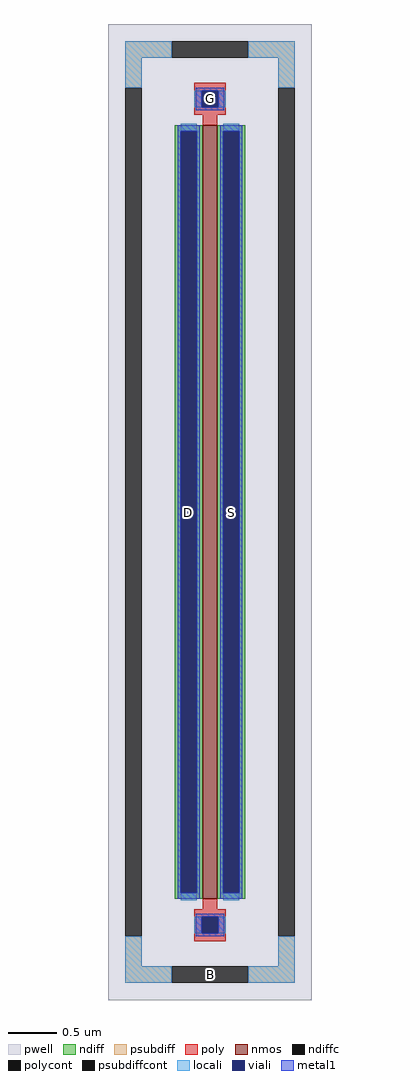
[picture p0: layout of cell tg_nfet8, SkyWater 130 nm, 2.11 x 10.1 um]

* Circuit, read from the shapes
.subckt tg_nfet8 B D S G
XM1 S G D B sky130_fd_pr__nfet_01v8 w=8 l=0.15
.ends

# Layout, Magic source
magic
tech sky130A
magscale 1 2
<< pwell >>
rect -211 -1010 211 1010
<< nmos >>
rect -15 -800 15 800
<< ndiff >>
rect -73 788 -15 800
rect -73 -788 -61 788
rect -27 -788 -15 788
rect -73 -800 -15 -788
rect 15 788 73 800
rect 15 -788 27 788
rect 61 -788 73 788
rect 15 -800 73 -788
<< ndiffc >>
rect -61 -788 -27 788
rect 27 -788 61 788
<< psubdiff >>
rect -175 940 -79 974
rect 79 940 175 974
rect -175 878 -141 940
rect 141 878 175 940
rect -175 -940 -141 -878
rect 141 -940 175 -878
rect -175 -974 -79 -940
rect 79 -974 175 -940
<< psubdiffcont >>
rect -79 940 79 974
rect -175 -878 -141 878
rect 141 -878 175 878
rect -79 -974 79 -940
<< poly >>
rect -33 872 33 888
rect -33 838 -17 872
rect 17 838 33 872
rect -33 822 33 838
rect -15 800 15 822
rect -15 -822 15 -800
rect -33 -838 33 -822
rect -33 -872 -17 -838
rect 17 -872 33 -838
rect -33 -888 33 -872
<< polycont >>
rect -17 838 17 872
rect -17 -872 17 -838
<< locali >>
rect -175 940 -79 974
rect 79 940 175 974
rect -175 878 -141 940
rect 141 878 175 940
rect -33 838 -17 872
rect 17 838 33 872
rect -61 788 -27 804
rect -61 -804 -27 -788
rect 27 788 61 804
rect 27 -804 61 -788
rect -33 -872 -17 -838
rect 17 -872 33 -838
rect -175 -940 -141 -878
rect 141 -940 175 -878
rect -175 -974 -79 -940
rect 79 -974 175 -940
<< viali >>
rect -17 838 17 872
rect -61 -788 -27 788
rect 27 -788 61 788
rect -17 -872 17 -838
<< metal1 >>
rect -29 872 29 878
rect -29 838 -17 872
rect 17 838 29 872
rect -29 832 29 838
rect -67 788 -21 800
rect -67 -788 -61 788
rect -27 -788 -21 788
rect -67 -800 -21 -788
rect 21 788 67 800
rect 21 -788 27 788
rect 61 -788 67 788
rect 21 -800 67 -788
rect -29 -838 29 -832
rect -29 -872 -17 -838
rect 17 -872 29 -838
rect -29 -878 29 -872
<< labels >>
rlabel psubdiffcont 0 -957 0 -957 0 B
port 1 nsew
rlabel ndiffc -44 0 -44 0 0 D
port 2 nsew
rlabel ndiffc 44 0 44 0 0 S
port 3 nsew
rlabel polycont 0 855 0 855 0 G
port 4 nsew
<< properties >>
string FIXED_BBOX -158 -957 158 957
<< end >>
